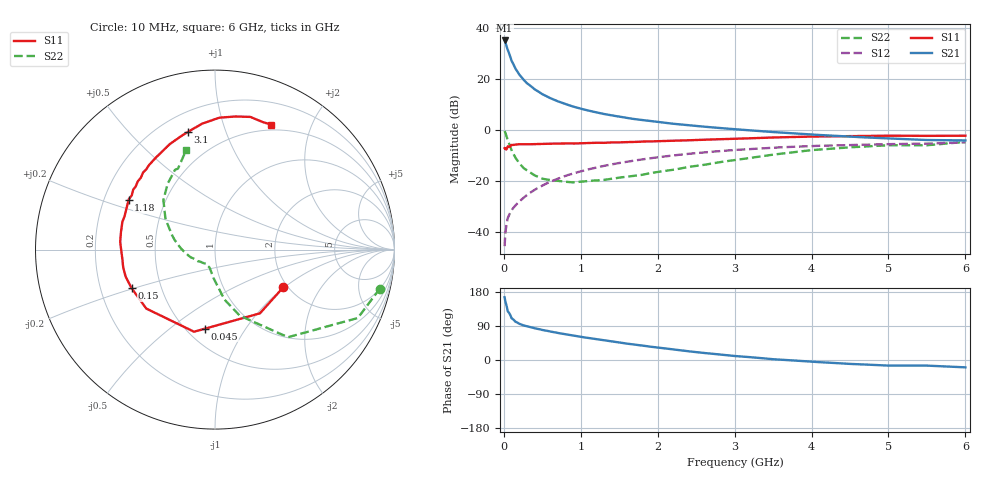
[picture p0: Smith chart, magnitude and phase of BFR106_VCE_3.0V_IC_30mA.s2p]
! Infineon Technologies  Discrete & RF Semiconductors
! BFR106
! VCE =  3.0 V,  IC =  30 mA
! Common Emitter S-Parameters:  Nov 2015
# GHz  S  MA  R  50
!  f  S11  S21  S12  S22
! GHz  MAG  ANG  MAG  ANG  MAG  ANG  MAG  ANG
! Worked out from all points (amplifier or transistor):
!   210 points, 10 MHz to 6 GHz, reference 50 ohm
!   highest |S21| = 35.0 dB at 10 MHz (marker M1)
!   |S21| within 3 dB of that: start of sweep to 42.65 MHz
!   unconditionally stable (mu >= 1): 294.2 MHz to 2.376 GHz; 5.353 GHz to 5.987 GHz
!   at 185 MHz: K = 0.86, MSG = 25.5 dB, |S12| = -28.6 dB
!   at 1.52 GHz: K = 1.05, MAG = 7.6 dB, |S12| = -12.9 dB
!   at 6 GHz: K = 1.00, MSG = 0.4 dB, |S12| = -5.0 dB
!   S11 on the Smith chart (normalised r, x): 10 MHz: 1.89, -0.98; 45 MHz: 0.61, -0.67; 150 MHz: 0.34, -0.20; 1.18 GHz: 0.30, +0.24; 3.1 GHz: 0.31, +0.75; 6 GHz: 0.44, +1.46
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0.01  0.4345 -29.0  56.45 165.6  0.0052 82.0  0.944 -13.3
0.02  0.4344 -54.8  52.02 153.8  0.0096 71.5  0.8823 -25.6
0.045  0.4439 -97.2  38.97 134.4  0.0168 60.5  0.666 -44.9
0.05  0.4722 -104.3  37.11 129.0  0.0183 59.3  0.6354 -50.2
0.1  0.5046 -139.4  22.69 110.4  0.0263 55.1  0.3927 -69.5
0.15  0.5118 -155.1  15.81 101.1  0.0327 58.1  0.2822 -79.4
0.2  0.5201 -163.0  12.15 95.7  0.0388 61.4  0.2206 -84.1
0.24  0.5206 -168.0  10.24 92.6  0.0441 63.0  0.1881 -88.1
0.26  0.5206 -170.1  9.455 91.1  0.0468 63.9  0.1758 -90.0
0.3  0.5186 -173.1  8.185 88.8  0.0523 65.8  0.159 -93.0
0.4  0.523 -180.0  6.218 83.8  0.0662 67.4  0.1273 -99.4
0.5  0.5299 175.3  4.988 79.3  0.0802 68.4  0.1097 -104.3
0.6  0.5323 170.7  4.192 75.3  0.095 68.3  0.1031 -108.3
0.8  0.5389 163.3  3.184 67.9  0.1243 67.2  0.0953 -119.0
1.02  0.5436 155.3  2.542 60.6  0.1556 65.1  0.0963 -126.9
1.18  0.5546 150.3  2.231 55.6  0.1782 63.2  0.1008 -134.3
1.6  0.5739 138.6  1.703 43.2  0.2358 57.4  0.1198 -150.9
2.02  0.5983 127.5  1.411 32.4  0.2907 51.2  0.1502 -166.8
3.1  0.6723 103.1  0.999 9.1  0.4094 34.2  0.2664 158.1
4.1  0.7375 86.7  0.79 -5.7  0.4845 19.1  0.408 133.9
5.1  0.7631 74.0  0.666 -14.8  0.5241 6.5  0.497 116.2
6  0.7638 65.7  0.618 -19.4  0.5649 -3.1  0.578 106.1
